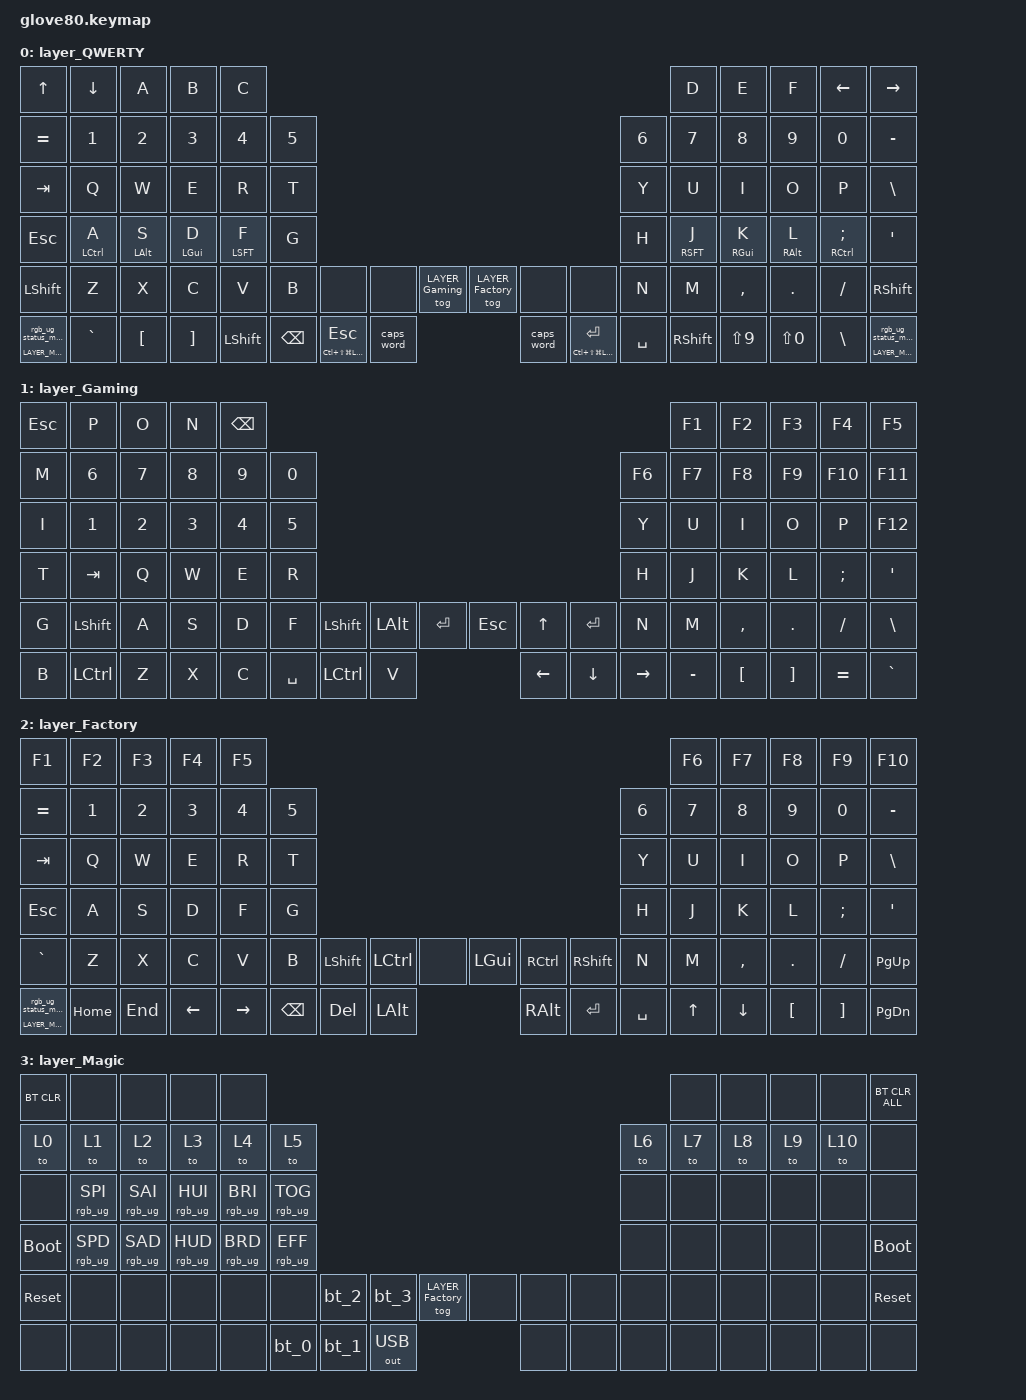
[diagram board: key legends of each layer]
/*
 * Copyright (c) 2020 The ZMK Contributors
 * Copyright (c) 2025 Innaworks Development Limited, trading as MoErgo
 *
 * SPDX-License-Identifier: MIT
 */


/* THIS FILE WAS GENERATED BY GLOVE80 LAYOUT EDITOR
 *
 * This file was generated automatically. You may or may not want to
 * edit it directly.
 */

#include <behaviors.dtsi>
/* Include all behavior includes needed */
#include <dt-bindings/zmk/outputs.h>
#include <dt-bindings/zmk/keys.h>
#include <dt-bindings/zmk/bt.h>
#include <dt-bindings/zmk/rgb.h>

/* On demand includes */


/* Helper Macros, based on https://github.com/urob/zmk-helpers/ */

#pragma once

#define ZMK_HELPER_STRINGIFY(x) #x

// Preprocessor mechanism to overload macros, cf. https://stackoverflow.com/a/27051616/6114651
#define VARGS_(_10, _9, _8, _7, _6, _5, _4, _3, _2, _1, N, ...) N
#define VARGS(...) VARGS_(__VA_ARGS__, 10, 9, 8, 7, 6, 5, 4, 3, 2, 1, 0)
#define CONCAT_(a, b) a##b
#define CONCAT(a, b) CONCAT_(a, b)

#define ZMK_BEHAVIOR_CORE_tap_dance  \
    compatible = "zmk,behavior-tap-dance"; \
    #binding-cells = <0>

#define ZMK_BEHAVIOR(name, type, ...) \
    name: name { \
        ZMK_BEHAVIOR_CORE_ ## type; \
        __VA_ARGS__ \
    };

#define ZMK_TAP_DANCE(name, ...) \
    ZMK_BEHAVIOR(name, tap_dance, __VA_ARGS__)

#define ZMK_TD_LAYER(name, layer) \
    ZMK_TAP_DANCE(name, \
        tapping-term-ms = <200>; \
        bindings = <&mo layer>, <&to layer>; \
)

/* Automatically generated layer name #define */
#define LAYER_QWERTY 0
#define LAYER_Gaming 1
#define LAYER_Factory 2
#define LAYER_Magic 3

/* To deal with the situation where there is no Lower layer, to keep &lower happy */
#ifndef LAYER_Lower
#define LAYER_Lower 0
#endif

#define DIFFICULTY_LEVEL 2  // Start with level 2 (400ms - more forgiving)
                           // Level 0 = 150ms (Sunaku's expert setting)
                           // Level 1 = 500ms (novice)
                           // Level 2 = 400ms (slower) <- START HERE
                           // Level 3 = 300ms (normal)
                           // Level 4 = 200ms (faster)
                           // Level 5 = 100ms (expert)

#define HYPER LC(LS(LG(LALT)))

// Calculate base timing from difficulty level

/* Custom Device-tree */


/* Input Listeners */


/* System behavior and Macros */
/ {
    behaviors {
        ZMK_TD_LAYER(lower, LAYER_Lower)
    };
};

/ {
    macros {
        rgb_ug_status_macro: rgb_ug_status_macro {
            label = "RGB_UG_STATUS";
            compatible = "zmk,behavior-macro";
            #binding-cells = <0>;
            bindings
                = <&rgb_ug RGB_STATUS>;
        };
    };
};


/ {
#ifdef BT_DISC_CMD
    behaviors {
        bt_0: bt_0 {
            compatible = "zmk,behavior-tap-dance";
            label = "BT_0";
            #binding-cells = <0>;
            tapping-term-ms = <200>;
            bindings = <&bt_select_0>, <&bt BT_DISC 0>;
        };
        bt_1: bt_1 {
            compatible = "zmk,behavior-tap-dance";
            label = "BT_1";
            #binding-cells = <0>;
            tapping-term-ms = <200>;
            bindings = <&bt_select_1>, <&bt BT_DISC 1>;
        };
        bt_2: bt_2 {
            compatible = "zmk,behavior-tap-dance";
            label = "BT_2";
            #binding-cells = <0>;
            tapping-term-ms = <200>;
            bindings = <&bt_select_2>, <&bt BT_DISC 2>;
        };
        bt_3: bt_3 {
            compatible = "zmk,behavior-tap-dance";
            label = "BT_3";
            #binding-cells = <0>;
            tapping-term-ms = <200>;
            bindings = <&bt_select_3>, <&bt BT_DISC 3>;
        };
    };
    macros {
        bt_select_0: bt_select_0 {
            label = "BT_SELECT_0";
            compatible = "zmk,behavior-macro";
            #binding-cells = <0>;
            bindings
                = <&out OUT_BLE>,
                  <&bt BT_SEL 0>;
        };
        bt_select_1: bt_select_1 {
            label = "BT_SELECT_1";
            compatible = "zmk,behavior-macro";
            #binding-cells = <0>;
            bindings
                = <&out OUT_BLE>,
                  <&bt BT_SEL 1>;
        };
        bt_select_2: bt_select_2 {
            label = "BT_SELECT_2";
            compatible = "zmk,behavior-macro";
            #binding-cells = <0>;
            bindings
                = <&out OUT_BLE>,
                  <&bt BT_SEL 2>;
        };
        bt_select_3: bt_select_3 {
            label = "BT_SELECT_3";
            compatible = "zmk,behavior-macro";
            #binding-cells = <0>;
            bindings
                = <&out OUT_BLE>,
                  <&bt BT_SEL 3>;
        };
    };
#else
    macros {
        bt_0: bt_0 {
            label = "BT_0";
            compatible = "zmk,behavior-macro";
            #binding-cells = <0>;
            bindings
                = <&out OUT_BLE>,
                  <&bt BT_SEL 0>;
        };
        bt_1: bt_1 {
            label = "BT_1";
            compatible = "zmk,behavior-macro";
            #binding-cells = <0>;
            bindings
                = <&out OUT_BLE>,
                  <&bt BT_SEL 1>;
        };
        bt_2: bt_2 {
            label = "BT_2";
            compatible = "zmk,behavior-macro";
            #binding-cells = <0>;
            bindings
                = <&out OUT_BLE>,
                  <&bt BT_SEL 2>;
        };
        bt_3: bt_3 {
            label = "BT_3";
            compatible = "zmk,behavior-macro";
            #binding-cells = <0>;
            bindings
                = <&out OUT_BLE>,
                  <&bt BT_SEL 3>;
        };
    };
#endif
};

/ {
    behaviors {
        magic: magic {
            compatible = "zmk,behavior-hold-tap";
            label = "MAGIC_HOLD_TAP";
            #binding-cells = <2>;
            flavor = "tap-preferred";
            tapping-term-ms = <200>;
            bindings = <&mo>, <&rgb_ug_status_macro>;
        };
    };
};


/* Key positions */

#define POS_LH_C6R1 0
#define POS_LH_C5R1 1
#define POS_LH_C4R1 2
#define POS_LH_C3R1 3
#define POS_LH_C2R1 4
#define POS_RH_C2R1 5
#define POS_RH_C3R1 6
#define POS_RH_C4R1 7
#define POS_RH_C5R1 8
#define POS_RH_C6R1 9
#define POS_LH_C6R2 10
#define POS_LH_C5R2 11
#define POS_LH_C4R2 12
#define POS_LH_C3R2 13
#define POS_LH_C2R2 14
#define POS_LH_C1R2 15
#define POS_RH_C1R2 16
#define POS_RH_C2R2 17
#define POS_RH_C3R2 18
#define POS_RH_C4R2 19
#define POS_RH_C5R2 20
#define POS_RH_C6R2 21
#define POS_LH_C6R3 22
#define POS_LH_C5R3 23
#define POS_LH_C4R3 24
#define POS_LH_C3R3 25
#define POS_LH_C2R3 26
#define POS_LH_C1R3 27
#define POS_RH_C1R3 28
#define POS_RH_C2R3 29
#define POS_RH_C3R3 30
#define POS_RH_C4R3 31
#define POS_RH_C5R3 32
#define POS_RH_C6R3 33
#define POS_LH_C6R4 34
#define POS_LH_C5R4 35
#define POS_LH_C4R4 36
#define POS_LH_C3R4 37
#define POS_LH_C2R4 38
#define POS_LH_C1R4 39
#define POS_RH_C1R4 40
#define POS_RH_C2R4 41
#define POS_RH_C3R4 42
#define POS_RH_C4R4 43
#define POS_RH_C5R4 44
#define POS_RH_C6R4 45
#define POS_LH_C6R5 46
#define POS_LH_C5R5 47
#define POS_LH_C4R5 48
#define POS_LH_C3R5 49
#define POS_LH_C2R5 50
#define POS_LH_C1R5 51
#define POS_LH_T1 52
#define POS_LH_T2 53
#define POS_LH_T3 54
#define POS_RH_T3 55
#define POS_RH_T2 56
#define POS_RH_T1 57
#define POS_RH_C1R5 58
#define POS_RH_C2R5 59
#define POS_RH_C3R5 60
#define POS_RH_C4R5 61
#define POS_RH_C5R5 62
#define POS_RH_C6R5 63
#define POS_LH_C6R6 64
#define POS_LH_C5R6 65
#define POS_LH_C4R6 66
#define POS_LH_C3R6 67
#define POS_LH_C2R6 68
#define POS_LH_T4 69
#define POS_LH_T5 70
#define POS_LH_T6 71
#define POS_RH_T6 72
#define POS_RH_T5 73
#define POS_RH_T4 74
#define POS_RH_C2R6 75
#define POS_RH_C3R6 76
#define POS_RH_C4R6 77
#define POS_RH_C5R6 78
#define POS_RH_C6R6 79


/* Custom Defined Behaviors */

/* Difficulty level for home row mods timing:
 * 1 = hardest (shortest tapping term), 5 = easiest (longest tapping term)
 *
 * We must provide plain numeric constants in devicetree (`<>` does not
 * support expressions), so we precompute all timing values here.
 */

#define TAPPING_RESOLUTION       200
#define TAPPING_TERM_MS          290  
#define QUICK_TAP_MS             350  
#define REQUIRE_PRIOR_IDLE_MS    100

/ {
    behaviors {

        // Left hand home row mods
        hml: homerow_mods_left {
            compatible = "zmk,behavior-hold-tap";
            label = "HOMEROW_MODS_LEFT";
            #binding-cells = <2>;
            flavor = "tap-preferred";
            tapping-term-ms = <TAPPING_TERM_MS>;
            quick-tap-ms = <QUICK_TAP_MS>;
            require-prior-idle-ms = <REQUIRE_PRIOR_IDLE_MS>;
            hold-trigger-on-release;  // Wait for other home row mods
            bindings = <&kp>, <&kp>;
        };
        
        // Right hand home row mods
        hmr: homerow_mods_right {
            compatible = "zmk,behavior-hold-tap";
            label = "HOMEROW_MODS_RIGHT";
            #binding-cells = <2>;
            flavor = "tap-preferred";
            tapping-term-ms = <TAPPING_TERM_MS>;
            quick-tap-ms = <QUICK_TAP_MS>;
            require-prior-idle-ms = <REQUIRE_PRIOR_IDLE_MS>;
            hold-trigger-on-release;
            bindings = <&kp>, <&kp>;
        };
    };
};

/* Generated input processors */


/* Automatically generated macro definitions */
/ {
    macros {

    };
};

/* Automatically generated behavior definitions */
/ {
    behaviors {


    };
};

/* Automatically generated combos definitions */


/* Automatically generated keymap */
/ {
    keymap {
        compatible = "zmk,keymap";



    layer_QWERTY {
        bindings = <
               &kp UP     &kp DOWN       &kp A       &kp B        &kp C                                                                                                                                                      &kp D           &kp E       &kp F        &kp LEFT             &kp RIGHT
            &kp EQUAL       &kp N1      &kp N2      &kp N3       &kp N4  &kp N5                                                                                                                                &kp N6       &kp N7          &kp N8      &kp N9          &kp N0             &kp MINUS
              &kp TAB        &kp Q       &kp W       &kp E        &kp R   &kp T                                                                                                                                 &kp Y        &kp U           &kp I       &kp O           &kp P              &kp BSLH
              &kp ESC  &hml LCTL A  &hml LALT S  &hml LGUI  D  &hml LSFT F   &kp G                                                                                                                             &kp H  &hmr RSFT J  &hmr RGUI K  &hmr RALT L  &hmr RCTL SEMI               &kp SQT
            &kp LSHFT        &kp Z       &kp X       &kp C        &kp V   &kp B     &none                          &none  &tog LAYER_Gaming  &tog LAYER_Factory                          &none      &none       &kp N        &kp M       &kp COMMA     &kp DOT        &kp FSLH             &kp RSHFT
     &magic LAYER_Magic 0    &kp GRAVE    &kp LBKT    &kp RBKT    &kp LSHFT          &kp BSPC  &mt HYPER ESC         &caps_word          &caps_word  &mt HYPER RET  &kp SPACE                &kp RSHFT  &kp LS(N9)  &kp LS(N0)        &kp BSLH  &magic LAYER_Magic 0
        >;
    };

        layer_Gaming {
            bindings = <
 &kp ESC      &kp P   &kp O   &kp N  &kp BSPC                                                                                   &kp F1     &kp F2    &kp F3     &kp F4     &kp F5
   &kp M     &kp N6  &kp N7  &kp N8    &kp N9  &kp N0                                                                &kp F6     &kp F7     &kp F8    &kp F9    &kp F10    &kp F11
   &kp I     &kp N1  &kp N2  &kp N3    &kp N4  &kp N5                                                                 &kp Y      &kp U      &kp I     &kp O      &kp P    &kp F12
   &kp T    &kp TAB   &kp Q   &kp W     &kp E   &kp R                                                                 &kp H      &kp J      &kp K     &kp L   &kp SEMI    &kp SQT
   &kp G  &kp LSHFT   &kp A   &kp S     &kp D   &kp F  &kp LSHFT   &kp LALT  &kp RET   &kp ESC    &kp UP    &kp RET   &kp N      &kp M  &kp COMMA   &kp DOT   &kp FSLH   &kp BSLH
   &kp B  &kp LCTRL   &kp Z   &kp X     &kp C          &kp SPACE  &kp LCTRL    &kp V  &kp LEFT  &kp DOWN  &kp RIGHT          &kp MINUS   &kp LBKT  &kp RBKT  &kp EQUAL  &kp GRAVE
            >;
        };

        layer_Factory {
            bindings = <
               &kp F1    &kp F2   &kp F3    &kp F4     &kp F5                                                                                  &kp F6     &kp F7    &kp F8    &kp F9    &kp F10
            &kp EQUAL    &kp N1   &kp N2    &kp N3     &kp N4  &kp N5                                                                  &kp N6  &kp N7     &kp N8    &kp N9    &kp N0  &kp MINUS
              &kp TAB     &kp Q    &kp W     &kp E      &kp R   &kp T                                                                   &kp Y   &kp U      &kp I     &kp O     &kp P   &kp BSLH
              &kp ESC     &kp A    &kp S     &kp D      &kp F   &kp G                                                                   &kp H   &kp J      &kp K     &kp L  &kp SEMI    &kp SQT
            &kp GRAVE     &kp Z    &kp X     &kp C      &kp V   &kp B  &kp LSHFT  &kp LCTRL     &none  &kp LGUI  &kp RCTRL  &kp RSHFT   &kp N   &kp M  &kp COMMA   &kp DOT  &kp FSLH  &kp PG_UP
 &magic LAYER_Magic 0  &kp HOME  &kp END  &kp LEFT  &kp RIGHT           &kp BSPC    &kp DEL  &kp LALT  &kp RALT    &kp RET  &kp SPACE          &kp UP   &kp DOWN  &kp LBKT  &kp RBKT  &kp PG_DN
            >;
        };

        layer_Magic {
            bindings = <
  &bt BT_CLR            &none            &none            &none            &none                                                                                        &none   &none   &none   &none  &bt BT_CLR_ALL
       &to 0            &to 1            &to 2            &to 3            &to 4            &to 5                                                               &to 6   &to 7   &to 8   &to 9  &to 10           &none
       &none  &rgb_ug RGB_SPI  &rgb_ug RGB_SAI  &rgb_ug RGB_HUI  &rgb_ug RGB_BRI  &rgb_ug RGB_TOG                                                               &none   &none   &none   &none   &none           &none
 &bootloader  &rgb_ug RGB_SPD  &rgb_ug RGB_SAD  &rgb_ug RGB_HUD  &rgb_ug RGB_BRD  &rgb_ug RGB_EFF                                                               &none   &none   &none   &none   &none     &bootloader
  &sys_reset            &none            &none            &none            &none            &none   &bt_2   &bt_3  &tog LAYER_Factory   &none   &none   &none   &none   &none   &none   &none   &none      &sys_reset
       &none            &none            &none            &none            &none                    &bt_0   &bt_1        &out OUT_USB   &none   &none   &none           &none   &none   &none   &none           &none
            >;
        };

    };
};

